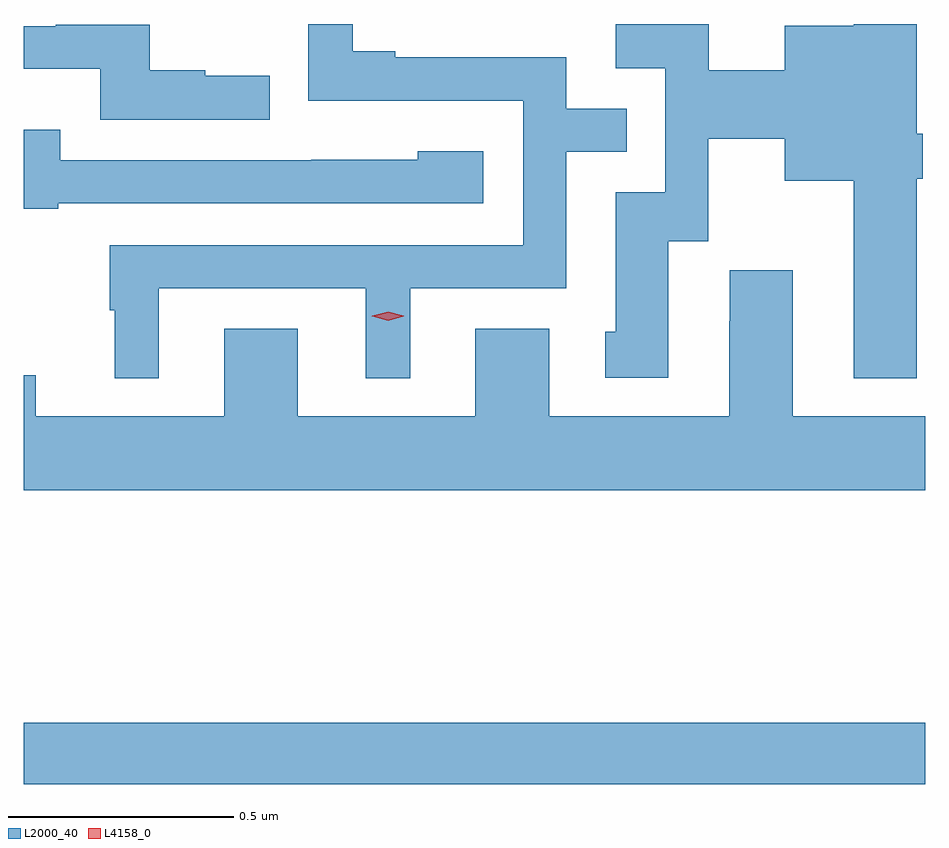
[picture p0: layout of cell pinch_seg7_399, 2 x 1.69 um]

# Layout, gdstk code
import gdstk
lib = gdstk.Library(unit=1e-6, precision=1e-09)
def R(c, l, rs):  # rectangles x0, y0, x1, y1
    for r in rs: c.add(gdstk.rectangle(r[:2], r[2:], *l))
def P(c, l, *ps):  # polygons
    for p in ps: c.add(gdstk.Polygon(p, *l))
L2000_40 = (2000, 40)
L4158_0 = (4158, 0)

pinch_seg7_399 = lib.new_cell('pinch_seg7_399')
R(pinch_seg7_399, L2000_40, [(409.409,1011.952,411.409,1012.088)])
P(pinch_seg7_399, L2000_40, [(411.391,1013.295),(411.404,1013.295),(411.404,1013.395),(411.391,1013.395),(411.391,1013.639),(411.251,1013.639),(411.251,1013.635),(411.098,1013.635),(411.098,1013.536),(410.929,1013.536),(410.929,1013.639),(410.723,1013.639),(410.723,1013.541),(410.832,1013.541),(410.832,1013.265),(410.723,1013.265),(410.723,1012.956),(410.699,1012.956),(410.699,1012.854),(410.839,1012.854),(410.839,1013.157),(410.928,1013.157),(410.928,1013.384),(411.098,1013.384),(411.098,1013.291),(411.251,1013.291),(411.251,1012.853),(411.391,1012.853)],
  [(409.708,1013.052),(410.168,1013.052),(410.168,1012.853),(410.266,1012.853),(410.266,1013.052),(410.613,1013.052),(410.613,1013.355),(410.747,1013.355),(410.747,1013.451),(410.613,1013.451),(410.613,1013.565),(410.233,1013.565),(410.233,1013.578),(410.139,1013.578),(410.139,1013.639),(410.04,1013.639),(410.04,1013.469),(410.517,1013.469),(410.517,1013.148),(409.599,1013.148),(409.599,1013.004),(409.61,1013.004),(409.61,1012.853),(409.708,1012.853)],
  [(409.955,1013.524),(409.811,1013.524),(409.811,1013.536),(409.688,1013.536),(409.688,1013.637),(409.48,1013.637),(409.48,1013.634),(409.409,1013.634),(409.409,1013.54),(409.578,1013.54),(409.578,1013.427),(409.955,1013.427)],
  [(409.485,1013.241),(410.428,1013.241),(410.428,1013.356),(410.283,1013.356),(410.283,1013.338),(410.047,1013.338),(410.047,1013.337),(409.489,1013.337),(409.489,1013.404),(409.409,1013.404),(409.409,1013.229),(409.485,1013.229)],
  [(410.411,1012.963),(410.411,1012.768),(410.017,1012.768),(410.017,1012.963),(409.853,1012.963),(409.853,1012.768),(409.435,1012.768),(409.435,1012.859),(409.409,1012.859),(409.409,1012.604),(411.409,1012.604),(411.409,1012.768),(411.115,1012.768),(411.115,1013.092),(410.976,1013.092),(410.976,1012.979),(410.975,1012.979),(410.975,1012.768),(410.575,1012.768),(410.575,1012.963)])
P(pinch_seg7_399, L4158_0, [(410.217,1012.98),(410.182,1012.99),(410.181,1012.99),(410.182,1012.991),(410.217,1013),(410.252,1012.991),(410.252,1012.99),(410.252,1012.99)])

lib.write_gds('pinch_seg7_399.gds')
